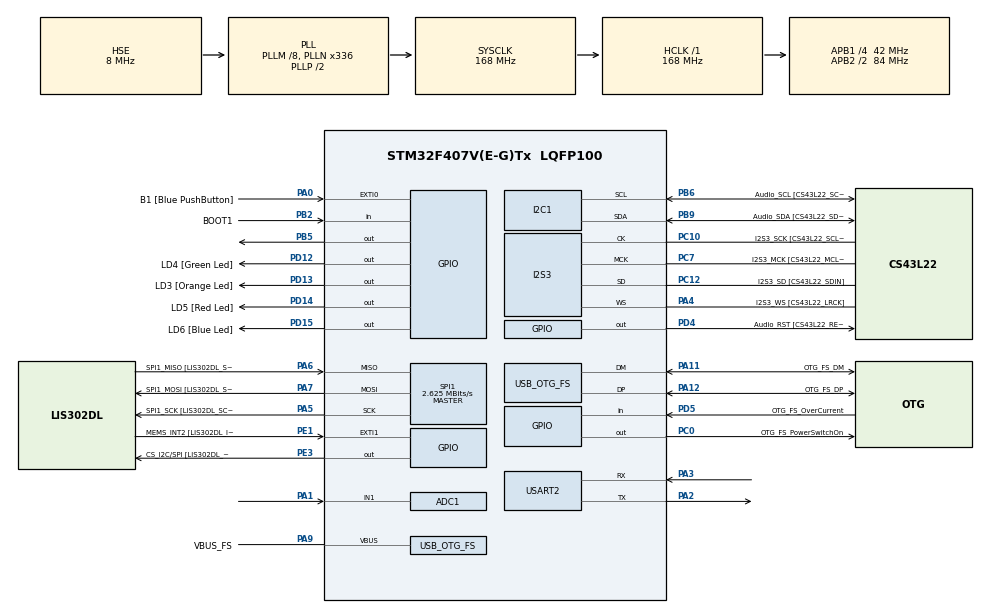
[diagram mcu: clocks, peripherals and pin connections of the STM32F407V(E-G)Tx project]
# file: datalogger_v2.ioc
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ADC1.Channel-0\#ChannelRegularConversion=ADC_CHANNEL_1
ADC1.ContinuousConvMode=ENABLE
ADC1.NbrOfConversionFlag=1
ADC1.Rank-0\#ChannelRegularConversion=1
ADC1.SamplingTime-0\#ChannelRegularConversion=ADC_SAMPLETIME_3CYCLES
ADC1.master=1
FREERTOS.Tasks01=defaultTask,0,128,StartDefaultTask,Default,NULL,Dynamic,NULL,NULL
I2S3.AudioFreq-Half_Duplex_Master=I2S_AUDIOFREQ_96K
I2S3.ErrorAudioFreq=-2.34 %
I2S3.ErrorAudioFreq-Half_Duplex_Master=0.8 %
I2S3.FullDuplexMode=I2S_FULLDUPLEXMODE_DISABLE
I2S3.Instance=SPI$Index
I2S3.RealAudioFreq=93.75 KHz
I2S3.RealAudioFreq-Half_Duplex_Master=96.774 KHz
I2S3.VirtualMode=I2S_MODE_MASTER
Mcu.Family=STM32F4
Mcu.Name=STM32F407V(E-G)Tx
Mcu.Package=LQFP100
NVIC.OTG_FS_IRQn=true\:5\:0\:false\:false\:true\:true\:true\:true
NVIC.PriorityGroup=NVIC_PRIORITYGROUP_4
NVIC.TIM1_UP_TIM10_IRQn=true\:5\:0\:false\:false\:true\:true\:true\:true
NVIC.TIM6_DAC_IRQn=true\:15\:0\:false\:false\:true\:false\:false\:true
NVIC.TimeBase=TIM6_DAC_IRQn
NVIC.TimeBaseIP=TIM6
PA0-WKUP.GPIO_Label=B1 [Blue PushButton]
PA0-WKUP.GPIO_ModeDefaultEXTI=GPIO_MODE_EVT_RISING
PA0-WKUP.GPIO_PuPd=GPIO_NOPULL
PA0-WKUP.Signal=GPXTI0
PA1.Signal=ADCx_IN1
PA10.GPIO_Label=OTG_FS_ID
PA10.GPIO_Mode=GPIO_MODE_AF_PP
PA10.GPIO_PuPd=GPIO_NOPULL
PA10.GPIO_Speed=GPIO_SPEED_FREQ_LOW
PA10.Signal=USB_OTG_FS_ID
PA11.GPIO_Label=OTG_FS_DM
PA11.GPIO_Mode=GPIO_MODE_AF_PP
PA11.GPIO_PuPd=GPIO_NOPULL
PA11.GPIO_Speed=GPIO_SPEED_FREQ_LOW
PA11.Mode=Host_Only
PA11.Signal=USB_OTG_FS_DM
PA12.GPIO_Label=OTG_FS_DP
PA12.GPIO_Mode=GPIO_MODE_AF_PP
PA12.GPIO_PuPd=GPIO_NOPULL
PA12.GPIO_Speed=GPIO_SPEED_FREQ_LOW
PA12.Mode=Host_Only
PA12.Signal=USB_OTG_FS_DP
PA13.GPIO_Label=SWDIO
PA13.Mode=Serial_Wire
PA13.Signal=SYS_JTMS-SWDIO
PA14.GPIO_Label=SWCLK
PA14.Mode=Serial_Wire
PA14.Signal=SYS_JTCK-SWCLK
PA2.Mode=Asynchronous
PA2.Signal=USART2_TX
PA3.Mode=Asynchronous
PA3.Signal=USART2_RX
PA4.GPIO_Label=I2S3_WS [CS43L22_LRCK]
PA4.GPIO_Mode=GPIO_MODE_AF_PP
PA4.GPIO_PuPd=GPIO_NOPULL
PA4.GPIO_Speed=GPIO_SPEED_FREQ_LOW
PA4.Mode=Half_Duplex_Master
PA4.Signal=I2S3_WS
PA5.GPIO_Label=SPI1_SCK [LIS302DL_SCL/SPC]
PA5.GPIO_Mode=GPIO_MODE_AF_PP
PA5.GPIO_PuPd=GPIO_NOPULL
PA5.GPIO_Speed=GPIO_SPEED_FREQ_LOW
PA5.Mode=Full_Duplex_Master
PA5.Signal=SPI1_SCK
PA6.GPIO_Label=SPI1_MISO [LIS302DL_SDO]
PA6.GPIO_Mode=GPIO_MODE_AF_PP
PA6.GPIO_PuPd=GPIO_NOPULL
PA6.GPIO_Speed=GPIO_SPEED_FREQ_LOW
PA6.Mode=Full_Duplex_Master
PA6.Signal=SPI1_MISO
PA7.GPIO_Label=SPI1_MOSI [LIS302DL_SDA/SDI/SDO]
PA7.GPIO_Mode=GPIO_MODE_AF_PP
PA7.GPIO_PuPd=GPIO_NOPULL
PA7.GPIO_Speed=GPIO_SPEED_FREQ_LOW
PA7.Mode=Full_Duplex_Master
PA7.Signal=SPI1_MOSI
PA9.GPIO_Label=VBUS_FS
PA9.GPIO_Mode=GPIO_MODE_INPUT
PA9.GPIO_PuPd=GPIO_NOPULL
PA9.Mode=Activate_VBUS
PA9.Signal=USB_OTG_FS_VBUS
PB10.GPIO_Label=CLK_IN [MP45DT02_CLK]
PB10.GPIO_Mode=GPIO_MODE_AF_PP
PB10.GPIO_PuPd=GPIO_NOPULL
PB10.GPIO_Speed=GPIO_SPEED_FREQ_LOW
PB10.Signal=I2S2_CK
PB2.GPIO_Label=BOOT1
PB2.GPIO_Mode=GPIO_MODE_INPUT
PB2.GPIO_PuPd=GPIO_NOPULL
PB2.Signal=GPIO_Input
PB3.GPIO_Label=SWO
PB3.Signal=SYS_JTDO-SWO
PB5.Signal=GPIO_Output
PB6.GPIO_Label=Audio_SCL [CS43L22_SCL]
PB6.GPIO_Mode=GPIO_MODE_AF_OD
PB6.GPIO_Pu=GPIO_PULLUP
PB6.GPIO_PuPd=GPIO_NOPULL
PB6.GPIO_Speed=GPIO_SPEED_FREQ_LOW
PB6.Mode=I2C
PB6.Signal=I2C1_SCL
PB9.GPIO_Label=Audio_SDA [CS43L22_SDA]
PB9.GPIO_Mode=GPIO_MODE_AF_OD
PB9.GPIO_Pu=GPIO_PULLUP
PB9.GPIO_PuPd=GPIO_NOPULL
PB9.GPIO_Speed=GPIO_SPEED_FREQ_LOW
PB9.Mode=I2C
PB9.Signal=I2C1_SDA
PC0.GPIO_Label=OTG_FS_PowerSwitchOn
PC0.GPIO_PuPd=GPIO_NOPULL
PC0.GPIO_Speed=GPIO_SPEED_FREQ_LOW
PC0.PinState=GPIO_PIN_SET
PC0.Signal=GPIO_Output
PC10.GPIO_Label=I2S3_SCK [CS43L22_SCLK]
PC10.GPIO_Mode=GPIO_MODE_AF_PP
PC10.GPIO_PuPd=GPIO_NOPULL
PC10.GPIO_Speed=GPIO_SPEED_FREQ_LOW
PC10.Mode=Half_Duplex_Master
PC10.Signal=I2S3_CK
PC12.GPIO_Label=I2S3_SD [CS43L22_SDIN]
PC12.GPIO_Mode=GPIO_MODE_AF_PP
PC12.GPIO_PuPd=GPIO_NOPULL
PC12.GPIO_Speed=GPIO_SPEED_FREQ_LOW
PC12.Mode=Half_Duplex_Master
PC12.Signal=I2S3_SD
PC14-OSC32_IN.GPIO_Label=PC14-OSC32_IN
PC14-OSC32_IN.Mode=LSE-External-Oscillator
PC14-OSC32_IN.Signal=RCC_OSC32_IN
PC15-OSC32_OUT.GPIO_Label=PC15-OSC32_OUT
PC15-OSC32_OUT.Mode=LSE-External-Oscillator
PC15-OSC32_OUT.Signal=RCC_OSC32_OUT
PC3.GPIO_Label=PDM_OUT [MP45DT02_DOUT]
PC3.GPIO_Mode=GPIO_MODE_AF_PP
PC3.GPIO_PuPd=GPIO_NOPULL
PC3.GPIO_Speed=GPIO_SPEED_FREQ_LOW
PC3.Signal=I2S2_SD
PC7.GPIO_Label=I2S3_MCK [CS43L22_MCLK]
PC7.GPIO_Mode=GPIO_MODE_AF_PP
PC7.GPIO_PuPd=GPIO_NOPULL
PC7.GPIO_Speed=GPIO_SPEED_FREQ_LOW
PC7.Mode=Master_Clock_Activated
PC7.Signal=I2S3_MCK
PD12.GPIO_Label=LD4 [Green Led]
PD12.GPIO_PuPd=GPIO_NOPULL
PD12.GPIO_Speed=GPIO_SPEED_FREQ_LOW
PD12.Signal=GPIO_Output
PD13.GPIO_Label=LD3 [Orange Led]
PD13.GPIO_PuPd=GPIO_NOPULL
PD13.GPIO_Speed=GPIO_SPEED_FREQ_LOW
PD13.Signal=GPIO_Output
PD14.GPIO_Label=LD5 [Red Led]
PD14.GPIO_PuPd=GPIO_NOPULL
PD14.GPIO_Speed=GPIO_SPEED_FREQ_LOW
PD14.Signal=GPIO_Output
PD15.GPIO_Label=LD6 [Blue Led]
PD15.GPIO_PuPd=GPIO_NOPULL
PD15.GPIO_Speed=GPIO_SPEED_FREQ_LOW
PD15.Signal=GPIO_Output
PD4.GPIO_Label=Audio_RST [CS43L22_RESET]
PD4.GPIO_PuPd=GPIO_NOPULL
PD4.GPIO_Speed=GPIO_SPEED_FREQ_LOW
PD4.Signal=GPIO_Output
PD5.GPIO_Label=OTG_FS_OverCurrent
PD5.GPIO_Mode=GPIO_MODE_INPUT
PD5.GPIO_PuPd=GPIO_NOPULL
PD5.Signal=GPIO_Input
PE1.GPIO_Label=MEMS_INT2 [LIS302DL_INT2]
PE1.GPIO_ModeDefaultEXTI=GPIO_MODE_EVT_RISING
PE1.GPIO_PuPd=GPIO_NOPULL
PE1.Signal=GPXTI1
PE3.GPIO_Label=CS_I2C/SPI [LIS302DL_CS_I2C/SPI]
PE3.GPIO_PuPd=GPIO_NOPULL
PE3.GPIO_Speed=GPIO_SPEED_FREQ_LOW
PE3.Signal=GPIO_Output
PH0-OSC_IN.GPIO_Label=PH0-OSC_IN
PH0-OSC_IN.Mode=HSE-External-Oscillator
PH0-OSC_IN.Signal=RCC_OSC_IN
PH1-OSC_OUT.GPIO_Label=PH1-OSC_OUT
PH1-OSC_OUT.Mode=HSE-External-Oscillator
PH1-OSC_OUT.Signal=RCC_OSC_OUT
ProjectManager.HeapSize=0x200
ProjectManager.StackSize=0x400
ProjectManager.TargetToolchain=STM32CubeIDE
RCC.48MHZClocksFreq_Value=48000000
RCC.AHBFreq_Value=168000000
RCC.APB1CLKDivider=RCC_HCLK_DIV4
RCC.APB1Freq_Value=42000000
RCC.APB1TimFreq_Value=84000000
RCC.APB2CLKDivider=RCC_HCLK_DIV2
RCC.APB2Freq_Value=84000000
RCC.APB2TimFreq_Value=168000000
RCC.CortexFreq_Value=168000000
RCC.HCLKFreq_Value=168000000
RCC.HSE_VALUE=8000000
RCC.HSI_VALUE=16000000
RCC.PLLM=8
RCC.PLLN=336
RCC.PLLQ=7
RCC.SYSCLKFreq_VALUE=168000000
RCC.SYSCLKSource=RCC_SYSCLKSOURCE_PLLCLK
RCC.VCOOutputFreq_Value=336000000
SH.ADCx_IN1.0=ADC1_IN1,IN1
SPI1.BaudRatePrescaler=SPI_BAUDRATEPRESCALER_32
SPI1.BaudRatePrescaler-Full_Duplex_Master=SPI_BAUDRATEPRESCALER_2
SPI1.CalculateBaudRate=2.625 MBits/s
SPI1.CalculateBaudRate-Full_Duplex_Master=42.0 MBits/s
SPI1.Direction=SPI_DIRECTION_2LINES
SPI1.Mode=SPI_MODE_MASTER
SPI1.Mode-Full_Duplex_Master=SPI_MODE_MASTER
SPI1.VirtualType=VM_MASTER
TIM1.Period=2000-1
TIM1.Prescaler=60000-1
TIM1.TIM_MasterOutputTrigger=TIM_TRGO_UPDATE
TIM7.Prescaler=168-1
USART2.VirtualMode=VM_ASYNC
USB_HOST.BSP.number=1
USB_HOST.USBH_HandleTypeDef-CDC_FS=hUsbHostFS
USB_HOST.USBH_USE_OS-CDC_FS=0
USB_HOST.VirtualModeFS=Cdc
USB_HOST0.BSP.STBoard=false
USB_HOST0.BSP.api=Unknown
USB_HOST0.BSP.i2caddr=0
USB_HOST0.BSP.i2creg=0
USB_HOST0.BSP.instance=PC0
USB_HOST0.BSP.ip=GPIO
USB_HOST0.BSP.mode=Output
USB_HOST0.BSP.name=Drive_VBUS_FS
USB_HOST0.BSP.solution=PC0
USB_OTG_FS.VirtualMode=Host_Only
USB_OTG_FS.phy_itface=HCD_PHY_EMBEDDED
VP_FATFS_VS_Generic.Mode=User_defined
VP_FREERTOS_VS_CMSIS_V1.Mode=CMSIS_V1
VP_SYS_VS_tim6.Mode=TIM6
VP_TIM1_VS_ClockSourceINT.Mode=Internal
VP_TIM7_VS_ClockSourceINT.Mode=Enable_Timer
VP_USB_HOST_VS_USB_HOST_CDC_FS.Mode=CDC_FS
board=STM32F407G-DISC1

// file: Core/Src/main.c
/* USER CODE BEGIN Header */
/**
 ******************************************************************************
 * @file           : main.c
 * @brief          : Main program body
 ******************************************************************************
 * @attention
 *
 * <h2><center>&copy; Copyright (c) 2021 STMicroelectronics.
 * All rights reserved.</center></h2>
 *
 * This software component is licensed by ST under Ultimate Liberty license
 * SLA0044, the "License"; You may not use this file except in compliance with
 * the License. You may obtain a copy of the License at:
 *                             www.st.com/SLA0044
 *
 ******************************************************************************
 */
/* USER CODE END Header */
#include "main.h"
//#include "cmsis_os.h"
#include "fatfs.h"
#include "usb_host.h"

/* USER CODE BEGIN Includes */

#include "FreeRTOS.h"
#include "task.h"
#include "timers.h"
#include "queue.h"
#include "semphr.h"
#include "event_groups.h"

#include "File_Handling_RTOS.h"

/* USER CODE END Includes */

ADC_HandleTypeDef hadc1;

I2C_HandleTypeDef hi2c1;

I2S_HandleTypeDef hi2s3;

SPI_HandleTypeDef hspi1;

TIM_HandleTypeDef htim1;
TIM_HandleTypeDef htim7;

UART_HandleTypeDef huart2;

void SystemClock_Config(void);
static void MX_GPIO_Init(void);
static void MX_I2C1_Init(void);
static void MX_I2S3_Init(void);
static void MX_SPI1_Init(void);
static void MX_ADC1_Init(void);
static void MX_TIM1_Init(void);
static void MX_TIM7_Init(void);
static void MX_USART2_UART_Init(void);

/* USER CODE BEGIN 0 */

/* uint16_t ADC_VAL;
float Corrente;
float Aceleracao; */

//variaveis a serem salvas
xTaskHandle Corrente_Task_Handler;
xTaskHandle rotacao_Task_Handler;
xTaskHandle acLinear_Task_Handler;
xTaskHandle acAngular_Task_Handler;
xTaskHandle cMagnetico_Task_Handler;
xTaskHandle aTracao_Task_Handler;
xTaskHandle aVelocidade_Task_Handler;
xTaskHandle setpointVelocidade_Task_Handler;
xTaskHandle RPY_Task_Handler;
xTaskHandle GPS_Task_Handler;
xTaskHandle gPosicao_task_Handler;
xTaskHandle aPosicao_task_Handler;

//task para salvar no sdcard
xTaskHandle SDCARD_Task_Handler;

/* struct Dados
{
  char tipo[4];
  float* valor;
};

typedef struct Dados Dados; */

float corrente[40]; //q10 - 40
float rotacao[4]; //q10 - 4
float acLinear[3]; //q10 - 3
float acAngular[3]; //q10 - 3
float cMagnetico[3]; //q10 - 3
float aTracao[40]; //q10 - 40
float aVelocidade[4]; //q10 - 4
float setpointVelocidade[4]; //q10 - 4
float GPS[3]; //q100 - 3
float gPosicao[12]; //q100 - 12
float aPosicao[3]; //q100 - 3

//queue10ms = 101

/* xSemaphoreHandle Corrente_SEM;
xSemaphoreHandle Aceleracao_SEM; */

/* void Corrente_Task(void *argument)
{
  while (1)
  {
    if (xSemaphoreTake(Corrente_SEM, 2500) != pdTRUE)
    {
      HAL_UART_Transmit(&huart2, (uint8_t *)"Nao foi possivel receber o semaforo\n", 28, 100);
    }

    else
    {
      Dados_Corrente.valor = Corrente;
    }
  }
} */

void vSendData10ms (void *pvParameters)
{
  TickType_t xLastWakeTime = xTaskGetTickCount();
  const float * const pvParameters_float = (const float *) pvParameters;

  while (1)
  {
    vTaskDelayUntil(&xLastWakeTime, 10 / portTICK_PERIOD_MS);
    xQueueSend(xQueue10ms, &pvParameters_float, 0);
  }
}

void vSendData100ms (void *pvParameters)
{
  TickType_t xLastWakeTime = xTaskGetTickCount();
  const float * const pvParameters_float = (const float *) pvParameters;

  while (1)
  {
    vTaskDelayUntil(&xLastWakeTime, 100 / portTICK_PERIOD_MS);
    xQueueSend(xQueue100ms, &pvParameters_float, 0);
  }
}

void SDCARD_Task10ms(void *pvParameters)
{
  TickType_t xLastWakeTime = xTaskGetTickCount();
  float *pvDados;

  QueueHandle_t xQueueFull;

  int32_t corrente_idx = 0;
  int32_t rotacao_idx = 0;
  int32_t acLinear_idx = 0;
  int32_t acAngular_idx = 0;
  int32_t cMagnetico_idx = 0;
  int32_t aTracao_idx = 0;
  int32_t aVelocidade_idx = 0;
  int32_t setpointVelocidade_idx = 0;

  while (1)
  {
    xQueueFull = (QueueHandle_t) xQueueSelectFromSet(xQueueSet, pdMS_TO_TICKS(10));
    if(xQueueFull == xQueue10ms)
    {
      xQueueReceive(xQueueFull, (float *)&pvDados, 0);
      int i = 0, last = 0;

      Mount_SD("/");
      char* buffer = pvPortMalloc(40*sizeof(char));

      for(;i<40;i++, corrente_idx++) sprintf(buffer, "%d;%.4f;\n", corrente_idx, pvDados[i]);
      Update_File("CORRENTE.TXT", buffer);
      last = i;

      for(;i<last+4;i++, rotacao_idx++) sprintf(buffer, "%d;%.4f;\n", rotacao_idx, pvDados[i]);
      Update_File("ROTACAO.TXT", buffer);
      last = i;

      for(;i<last+3;i++, acLinear_idx++) sprintf(buffer, "%d;%.4f;\n", acLinear_idx, pvDados[i]);
      Update_File("ACELERACAO_LINEAR.TXT", buffer);
      last = i;

      for(;i<last+3;i++, acAngular_idx++) sprintf(buffer, "%d;%.4f;\n", acAngular_idx, pvDados[i]);
      Update_File("ACELERACAO_ANGULAR.TXT", buffer);
      last = i;

      for(;i<last+3;i++, cMagnetico_idx++) sprintf(buffer, "%d;%.4f;\n", cMagnetico_idx, pvDados[i]);
      Update_File("C_MAGNETICO.TXT", buffer);
      last = i;

      for(;i<last+40;i++, aTracao_idx++) sprintf(buffer, "%d;%.4f;\n", aTracao_idx, pvDados[i]);
      Update_File("A_TRACAO.TXT", buffer);
      last = i;

      for(;i<last+4;i++, aVelocidade_idx++) sprintf(buffer, "%d;%.4f;\n", aVelocidade_idx, pvDados[i]);
      Update_File("A_VELOCIDADE.TXT", buffer);
      last = i;

      for(;i<last+4;i++, setpointVelocidade_idx++) sprintf(buffer, "%d;%.4f;\n", setpointVelocidade_idx, pvDados[i]);
      Update_File("SETPOINT_VELOCIDADE.TXT", buffer);
      last = i;

      vPortFree(buffer);
      Unmount_SD("/");
    }
    if(xQueueFull==NULL);
    vTaskDelayUntil(&xLastWakeTime, 10 / portTICK_PERIOD_MS);
  }
}

void SDCARD_Task100ms(void *pvParameters)
{
  TickType_t xLastWakeTime = xTaskGetTickCount();
  float *pvDados;

  QueueHandle_t xQueueFull;

  int32_t GPS_idx = 0;
  int32_t gPosicao_idx = 0;
  int32_t aPosicao_idx = 0;

  while (1)
  {
    xQueueFull = (QueueHandle_t) xQueueSelectFromSet(xQueueSet, pdMS_TO_TICKS(10));
    if(xQueueFull == xQueue100ms)
    {
      xQueueReceive(xQueueFull, (float *)&pvDados, 0);
      int i = 0, last = 0;

      Mount_SD("/");
      char* buffer = pvPortMalloc(40*sizeof(char));

      for(;i<last+3;i++, GPS_idx++) sprintf(buffer, "%d;%.4f;\n", GPS_idx, pvDados[i]);
      Update_File("GPS.TXT", buffer);
      last = i;

      for(;i<last+12;i++, gPosicao_idx++) sprintf(buffer, "%d;%.4f;\n", gPosicao_idx, pvDados[i]);
      Update_File("G_POSICAO.TXT", buffer);
      last = i;

      for(;i<last+3;i++, aPosicao_idx++) sprintf(buffer, "%d;%.4f;\n", aPosicao_idx, pvDados[i]);
      Update_File("A_POSICAO.TXT", buffer);

      vPortFree(buffer);
      Unmount_SD("/");
    }
    if(xQueueFull==NULL);
    vTaskDelayUntil(&xLastWakeTime, 100 / portTICK_PERIOD_MS);
  }
}
/* void SDCARD_Task(void *argument)
{
  int indx = 1;
  while (1)
  {
    Dados *Dados_Recebidos = (struct Dados *)argument;
    char *buffer = pvPortMalloc(50 * sizeof(char));
    Mount_SD("/");
    switch (Dados_Recebidos->tipo)
    {
    case 'c':
      sprintf(buffer, "%d. Corrente = %f A\n", indx, Dados_Recebidos->valor);
      Update_File("CORRENTE.TXT", buffer);
      break;

    case 'a':
      sprintf(buffer, "%d. Aceleracao = %f A\n", indx, Dados_Recebidos->valor);
      Update_File("Aceleracao.txt", buffer);
      break;

    default:
      break;
    }
    vPortFree(buffer);
    Unmount_SD("/");

    indx++;

    vTaskDelay(1000);
  }
} */

/* USER CODE END 0 */

int main(void)
{

  /* MCU Configuration--------------------------------------------------------*/

  /* Reset of all peripherals, Initializes the Flash interface and the Systick. */
  HAL_Init();

  /* Configure the system clock */
  SystemClock_Config();

  /* Initialize all configured peripherals */
  MX_GPIO_Init();
  MX_I2C1_Init();
  MX_I2S3_Init();
  MX_SPI1_Init();
  MX_ADC1_Init();
  MX_TIM1_Init();
  MX_TIM7_Init();
  MX_USART2_UART_Init();
  MX_FATFS_Init();
  /* USER CODE BEGIN 2 */

  Mount_SD("/");
  Format_SD();

  Create_File("CORRENTE.TXT", "ID;CORRENTE;\n");
  Create_File("ROTACAO.TXT", "ID;ROTACAO;\n");
  Create_File("ACELERACAO_LINEAR.TXT", "ID;ACELERACAO_LINEAR;\n");
  Create_File("ACELERACAO_ANGULAR.TXT", "ID;ACELERACAO_ANGULAR;\n");
  Create_File("C_MAGNETICO.TXT", "ID;C_MAGNETICO;\n");
  Create_File("A_TRACAO.TXT", "ID;A_TRACAO;\n");
  Create_File("A_VELOCIDADE.TXT", "ID;A_VELOCIDADE;\n");
  Create_File("SETPOINT_VELOCIDADE.TXT", "ID;SETPOINT_VELOCIDADE;\n");
  Create_File("GPS.TXT", "ID;GPS;\n");
  Create_File("G_POSICAO.TXT", "ID;G_POSICAO;\n");
  Create_File("A_POSICAO.TXT", "ID;A_POSICAO;\n");

  Unmount_SD("/");

  /* Corrente_SEM = xSemaphoreCreateBinary();
  Aceleracao_SEM = xSemaphoreCreateBinary(); */
  xQueue10ms = xQueueCreate(101, sizeof(float));
  xQueue100ms = xQueueCreate(18, sizeof(float));

  xQueueSet = xQueueCreateSet(2);

  xQueueAddToSet(xQueue10ms, xQueueSet);
  xQueueAddToSet(xQueue100ms, xQueueSet);

  xTaskCreate(vSendData10ms, "queue 10ms", 128, NULL, 2, NULL);
  xTaskCreate(vSendData100ms, "queue 100ms", 128, NULL, 1, NULL);

  xTaskCreate(SDCARD_Task10ms, "SDCARD Save 10ms", 128, NULL, 4, NULL);
  xTaskCreate(SDCARD_Task100ms, "SDCARD Save 100ms", 128, NULL, 3, NULL);

  HAL_TIM__Base_Start(&htim7);
  HAL_TIM__Base_Start_IT(&htim1);

  vTaskStartScheduler();

  /* USER CODE END 2 */

  /* We should never get here as control is now taken by the scheduler */
  /* Infinite loop */
  while (1)
  {

  }
}

void SystemClock_Config(void)
{
  RCC_OscInitTypeDef RCC_OscInitStruct = {0};
  RCC_ClkInitTypeDef RCC_ClkInitStruct = {0};

  /** Configure the main internal regulator output voltage
   */
  __HAL_RCC_PWR_CLK_ENABLE();
  __HAL_PWR_VOLTAGESCALING_CONFIG(PWR_REGULATOR_VOLTAGE_SCALE1);
  /** Initializes the RCC Oscillators according to the specified parameters
   * in the RCC_OscInitTypeDef structure.
   */
  RCC_OscInitStruct.OscillatorType = RCC_OSCILLATORTYPE_HSE;
  RCC_OscInitStruct.HSEState = RCC_HSE_ON;
  RCC_OscInitStruct.PLL.PLLState = RCC_PLL_ON;
  RCC_OscInitStruct.PLL.PLLSource = RCC_PLLSOURCE_HSE;
  RCC_OscInitStruct.PLL.PLLM = 8;
  RCC_OscInitStruct.PLL.PLLN = 336;
  RCC_OscInitStruct.PLL.PLLP = RCC_PLLP_DIV2;
  RCC_OscInitStruct.PLL.PLLQ = 7;
  if (HAL_RCC_OscConfig(&RCC_OscInitStruct) != HAL_OK)
  {
    Error_Handler();
  }
  /** Initializes the CPU, AHB and APB buses clocks
   */
  RCC_ClkInitStruct.ClockType = RCC_CLOCKTYPE_HCLK | RCC_CLOCKTYPE_SYSCLK | RCC_CLOCKTYPE_PCLK1 | RCC_CLOCKTYPE_PCLK2;
  RCC_ClkInitStruct.SYSCLKSource = RCC_SYSCLKSOURCE_PLLCLK;
  RCC_ClkInitStruct.AHBCLKDivider = RCC_SYSCLK_DIV1;
  RCC_ClkInitStruct.APB1CLKDivider = RCC_HCLK_DIV4;
  RCC_ClkInitStruct.APB2CLKDivider = RCC_HCLK_DIV2;

  if (HAL_RCC_ClockConfig(&RCC_ClkInitStruct, FLASH_LATENCY_5) != HAL_OK)
  {
    Error_Handler();
  }
}

static void MX_ADC1_Init(void)
{

  ADC_ChannelConfTypeDef sConfig = {0};

  /** Configure the global features of the ADC (Clock, Resolution, Data Alignment and number of conversion)
   */
  hadc1.Instance = ADC1;
  hadc1.Init.ClockPrescaler = ADC_CLOCK_SYNC_PCLK_DIV4;
  hadc1.Init.Resolution = ADC_RESOLUTION_12B;
  hadc1.Init.ScanConvMode = DISABLE;
  hadc1.Init.ContinuousConvMode = ENABLE;
  hadc1.Init.DiscontinuousConvMode = DISABLE;
  hadc1.Init.ExternalTrigConvEdge = ADC_EXTERNALTRIGCONVEDGE_NONE;
  hadc1.Init.ExternalTrigConv = ADC_SOFTWARE_START;
  hadc1.Init.DataAlign = ADC_DATAALIGN_RIGHT;
  hadc1.Init.NbrOfConversion = 1;
  hadc1.Init.DMAContinuousRequests = DISABLE;
  hadc1.Init.EOCSelection = ADC_EOC_SINGLE_CONV;
  if (HAL_ADC_Init(&hadc1) != HAL_OK)
  {
    Error_Handler();
  }
  /** Configure for the selected ADC regular channel its corresponding rank in the sequencer and its sample time.
   */
  sConfig.Channel = ADC_CHANNEL_1;
  sConfig.Rank = 1;
  sConfig.SamplingTime = ADC_SAMPLETIME_3CYCLES;
  if (HAL_ADC_ConfigChannel(&hadc1, &sConfig) != HAL_OK)
  {
    Error_Handler();
  }
}

static void MX_I2C1_Init(void)
{

  hi2c1.Instance = I2C1;
  hi2c1.Init.ClockSpeed = 100000;
  hi2c1.Init.DutyCycle = I2C_DUTYCYCLE_2;
  hi2c1.Init.OwnAddress1 = 0;
  hi2c1.Init.AddressingMode = I2C_ADDRESSINGMODE_7BIT;
  hi2c1.Init.DualAddressMode = I2C_DUALADDRESS_DISABLE;
  hi2c1.Init.OwnAddress2 = 0;
  hi2c1.Init.GeneralCallMode = I2C_GENERALCALL_DISABLE;
  hi2c1.Init.NoStretchMode = I2C_NOSTRETCH_DISABLE;
  if (HAL_I2C_Init(&hi2c1) != HAL_OK)
  {
    Error_Handler();
  }
}

static void MX_I2S3_Init(void)
{

  hi2s3.Instance = SPI3;
  hi2s3.Init.Mode = I2S_MODE_MASTER_TX;
  hi2s3.Init.Standard = I2S_STANDARD_PHILIPS;
  hi2s3.Init.DataFormat = I2S_DATAFORMAT_16B;
  hi2s3.Init.MCLKOutput = I2S_MCLKOUTPUT_ENABLE;
  hi2s3.Init.AudioFreq = I2S_AUDIOFREQ_96K;
  hi2s3.Init.CPOL = I2S_CPOL_LOW;
  hi2s3.Init.ClockSource = I2S_CLOCK_PLL;
  hi2s3.Init.FullDuplexMode = I2S_FULLDUPLEXMODE_DISABLE;
  if (HAL_I2S_Init(&hi2s3) != HAL_OK)
  {
    Error_Handler();
  }
}

static void MX_SPI1_Init(void)
{

  /* SPI1 parameter configuration*/
  hspi1.Instance = SPI1;
  hspi1.Init.Mode = SPI_MODE_MASTER;
  hspi1.Init.Direction = SPI_DIRECTION_2LINES;
  hspi1.Init.DataSize = SPI_DATASIZE_8BIT;
  hspi1.Init.CLKPolarity = SPI_POLARITY_LOW;
  hspi1.Init.CLKPhase = SPI_PHASE_1EDGE;
  hspi1.Init.NSS = SPI_NSS_SOFT;
  hspi1.Init.BaudRatePrescaler = SPI_BAUDRATEPRESCALER_32;
  hspi1.Init.FirstBit = SPI_FIRSTBIT_MSB;
  hspi1.Init.TIMode = SPI_TIMODE_DISABLE;
  hspi1.Init.CRCCalculation = SPI_CRCCALCULATION_DISABLE;
  hspi1.Init.CRCPolynomial = 10;
  if (HAL_SPI_Init(&hspi1) != HAL_OK)
  {
    Error_Handler();
  }
}

static void MX_TIM1_Init(void)
{

  TIM_ClockConfigTypeDef sClockSourceConfig = {0};
  TIM_MasterConfigTypeDef sMasterConfig = {0};

  htim1.Instance = TIM1;
  htim1.Init.Prescaler = 60000 - 1;
  htim1.Init.CounterMode = TIM_COUNTERMODE_UP;
  htim1.Init.Period = 2000 - 1;
  htim1.Init.ClockDivision = TIM_CLOCKDIVISION_DIV1;
  htim1.Init.RepetitionCounter = 0;
  htim1.Init.AutoReloadPreload = TIM_AUTORELOAD_PRELOAD_DISABLE;
  if (HAL_TIM_Base_Init(&htim1) != HAL_OK)
  {
    Error_Handler();
  }
  sClockSourceConfig.ClockSource = TIM_CLOCKSOURCE_INTERNAL;
  if (HAL_TIM_ConfigClockSource(&htim1, &sClockSourceConfig) != HAL_OK)
  {
    Error_Handler();
  }
  sMasterConfig.MasterOutputTrigger = TIM_TRGO_UPDATE;
  sMasterConfig.MasterSlaveMode = TIM_MASTERSLAVEMODE_DISABLE;
  if (HAL_TIMEx_MasterConfigSynchronization(&htim1, &sMasterConfig) != HAL_OK)
  {
    Error_Handler();
  }
}

static void MX_TIM7_Init(void)
{

  TIM_MasterConfigTypeDef sMasterConfig = {0};

  htim7.Instance = TIM7;
  htim7.Init.Prescaler = 168 - 1;
  htim7.Init.CounterMode = TIM_COUNTERMODE_UP;
  htim7.Init.Period = 65535;
  htim7.Init.AutoReloadPreload = TIM_AUTORELOAD_PRELOAD_DISABLE;
  if (HAL_TIM_Base_Init(&htim7) != HAL_OK)
  {
    Error_Handler();
  }
  sMasterConfig.MasterOutputTrigger = TIM_TRGO_RESET;
  sMasterConfig.MasterSlaveMode = TIM_MASTERSLAVEMODE_DISABLE;
  if (HAL_TIMEx_MasterConfigSynchronization(&htim7, &sMasterConfig) != HAL_OK)
  {
    Error_Handler();
  }
}

static void MX_USART2_UART_Init(void)
{

  huart2.Instance = USART2;
  huart2.Init.BaudRate = 115200;
  huart2.Init.WordLength = UART_WORDLENGTH_8B;
  huart2.Init.StopBits = UART_STOPBITS_1;
  huart2.Init.Parity = UART_PARITY_NONE;
  huart2.Init.Mode = UART_MODE_TX_RX;
  huart2.Init.HwFlowCtl = UART_HWCONTROL_NONE;
  huart2.Init.OverSampling = UART_OVERSAMPLING_16;
  if (HAL_UART_Init(&huart2) != HAL_OK)
  {
    Error_Handler();
  }
}

static void MX_GPIO_Init(void)
{
  GPIO_InitTypeDef GPIO_InitStruct = {0};

  /* GPIO Ports Clock Enable */
  __HAL_RCC_GPIOE_CLK_ENABLE();
  __HAL_RCC_GPIOC_CLK_ENABLE();
  __HAL_RCC_GPIOH_CLK_ENABLE();
  __HAL_RCC_GPIOA_CLK_ENABLE();
  __HAL_RCC_GPIOB_CLK_ENABLE();
  __HAL_RCC_GPIOD_CLK_ENABLE();

  /*Configure GPIO pin Output Level */
  HAL_GPIO_WritePin(CS_I2C_SPI_GPIO_Port, CS_I2C_SPI_Pin, GPIO_PIN_RESET);

  /*Configure GPIO pin Output Level */
  HAL_GPIO_WritePin(OTG_FS_PowerSwitchOn_GPIO_Port, OTG_FS_PowerSwitchOn_Pin, GPIO_PIN_SET);

  /*Configure GPIO pin Output Level */
  HAL_GPIO_WritePin(GPIOD, LD4_Pin | LD3_Pin | LD5_Pin | LD6_Pin | Audio_RST_Pin, GPIO_PIN_RESET);

  /*Configure GPIO pin Output Level */
  HAL_GPIO_WritePin(GPIOB, GPIO_PIN_5, GPIO_PIN_RESET);

  /*Configure GPIO pin : CS_I2C_SPI_Pin */
  GPIO_InitStruct.Pin = CS_I2C_SPI_Pin;
  GPIO_InitStruct.Mode = GPIO_MODE_OUTPUT_PP;
  GPIO_InitStruct.Pull = GPIO_NOPULL;
  GPIO_InitStruct.Speed = GPIO_SPEED_FREQ_LOW;
  HAL_GPIO_Init(CS_I2C_SPI_GPIO_Port, &GPIO_InitStruct);

  /*Configure GPIO pin : OTG_FS_PowerSwitchOn_Pin */
  GPIO_InitStruct.Pin = OTG_FS_PowerSwitchOn_Pin;
  GPIO_InitStruct.Mode = GPIO_MODE_OUTPUT_PP;
  GPIO_InitStruct.Pull = GPIO_NOPULL;
  GPIO_InitStruct.Speed = GPIO_SPEED_FREQ_LOW;
  HAL_GPIO_Init(OTG_FS_PowerSwitchOn_GPIO_Port, &GPIO_InitStruct);

  /*Configure GPIO pin : PDM_OUT_Pin */
  GPIO_InitStruct.Pin = PDM_OUT_Pin;
  GPIO_InitStruct.Mode = GPIO_MODE_AF_PP;
  GPIO_InitStruct.Pull = GPIO_NOPULL;
  GPIO_InitStruct.Speed = GPIO_SPEED_FREQ_LOW;
  GPIO_InitStruct.Alternate = GPIO_AF5_SPI2;
  HAL_GPIO_Init(PDM_OUT_GPIO_Port, &GPIO_InitStruct);

  /*Configure GPIO pin : B1_Pin */
  GPIO_InitStruct.Pin = B1_Pin;
  GPIO_InitStruct.Mode = GPIO_MODE_EVT_RISING;
  GPIO_InitStruct.Pull = GPIO_NOPULL;
  HAL_GPIO_Init(B1_GPIO_Port, &GPIO_InitStruct);

  /*Configure GPIO pin : BOOT1_Pin */
  GPIO_InitStruct.Pin = BOOT1_Pin;
  GPIO_InitStruct.Mode = GPIO_MODE_INPUT;
  GPIO_InitStruct.Pull = GPIO_NOPULL;
  HAL_GPIO_Init(BOOT1_GPIO_Port, &GPIO_InitStruct);

  /*Configure GPIO pin : CLK_IN_Pin */
  GPIO_InitStruct.Pin = CLK_IN_Pin;
  GPIO_InitStruct.Mode = GPIO_MODE_AF_PP;
  GPIO_InitStruct.Pull = GPIO_NOPULL;
  GPIO_InitStruct.Speed = GPIO_SPEED_FREQ_LOW;
  GPIO_InitStruct.Alternate = GPIO_AF5_SPI2;
  HAL_GPIO_Init(CLK_IN_GPIO_Port, &GPIO_InitStruct);

  /*Configure GPIO pins : LD4_Pin LD3_Pin LD5_Pin LD6_Pin
                           Audio_RST_Pin */
  GPIO_InitStruct.Pin = LD4_Pin | LD3_Pin | LD5_Pin | LD6_Pin | Audio_RST_Pin;
  GPIO_InitStruct.Mode = GPIO_MODE_OUTPUT_PP;
  GPIO_InitStruct.Pull = GPIO_NOPULL;
  GPIO_InitStruct.Speed = GPIO_SPEED_FREQ_LOW;
  HAL_GPIO_Init(GPIOD, &GPIO_InitStruct);

  /*Configure GPIO pin : OTG_FS_OverCurrent_Pin */
  GPIO_InitStruct.Pin = OTG_FS_OverCurrent_Pin;
  GPIO_InitStruct.Mode = GPIO_MODE_INPUT;
  GPIO_InitStruct.Pull = GPIO_NOPULL;
  HAL_GPIO_Init(OTG_FS_OverCurrent_GPIO_Port, &GPIO_InitStruct);

  /*Configure GPIO pin : PB5 */
  GPIO_InitStruct.Pin = GPIO_PIN_5;
  GPIO_InitStruct.Mode = GPIO_MODE_OUTPUT_PP;
  GPIO_InitStruct.Pull = GPIO_NOPULL;
  GPIO_InitStruct.Speed = GPIO_SPEED_FREQ_LOW;
  HAL_GPIO_Init(GPIOB, &GPIO_InitStruct);

  /*Configure GPIO pin : MEMS_INT2_Pin */
  GPIO_InitStruct.Pin = MEMS_INT2_Pin;
  GPIO_InitStruct.Mode = GPIO_MODE_EVT_RISING;
  GPIO_InitStruct.Pull = GPIO_NOPULL;
  HAL_GPIO_Init(MEMS_INT2_GPIO_Port, &GPIO_InitStruct);
}

void HAL_TIM_PeriodElapsedCallback(TIM_HandleTypeDef *htim)
{
  /* USER CODE BEGIN Callback 0 */
  if (htim->Instance == TIM1)
  {
    // release the semaphore here
    /* The xHigherPriorityTaskWoken parameter must be initialized to pdFALSE as
    it will get set to pdTRUE inside the interrupt safe API function if a
    context switch is required. */
    BaseType_t xHigherPriorityTaskWoken = pdFALSE;

    xSemaphoreGiveFromISR(Corrente_SEM, &xHigherPriorityTaskWoken); // ISR SAFE VERSION

    /* Pass the xHigherPriorityTaskWoken value into portEND_SWITCHING_ISR(). If
     xHigherPriorityTaskWoken was set to pdTRUE inside xSemaphoreGiveFromISR()
     then calling portEND_SWITCHING_ISR() will request a context switch. If
     xHigherPriorityTaskWoken is still pdFALSE then calling
     portEND_SWITCHING_ISR() will have no effect */

    portEND_SWITCHING_ISR(xHigherPriorityTaskWoken);
  }
  /* USER CODE END Callback 0 */
  if (htim->Instance == TIM6)
  {
    HAL_IncTick();
  }
}

void Error_Handler(void)
{
  __disable_irq();
  while (1)
  {
  }
}

/************************ (C) COPYRIGHT STMicroelectronics *****END OF FILE****/
